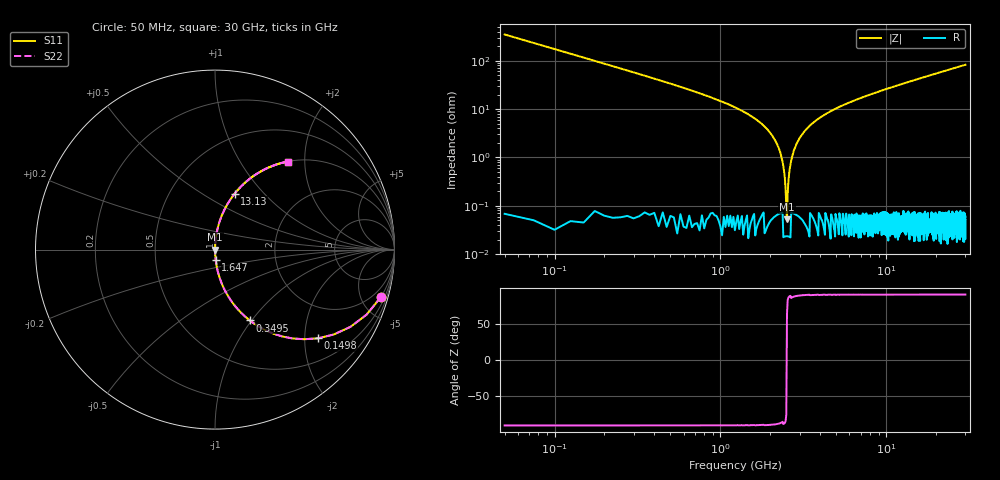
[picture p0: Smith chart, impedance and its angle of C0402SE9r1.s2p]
!	AVX Thin Film Operation 	Date: April 2014
!	Description: Accu-P® Series, Thin Film  SMD RF Capacitor
!	Part Number: 04023J9R1BBSTR
# MHZ S MA R 50
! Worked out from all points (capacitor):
!   1201 points, 50 MHz to 30 GHz, reference 50 ohm
!   read as one part in series: C = 9.1 pF near 199.8 MHz
!   lowest |Z| = 52.7 mohm at 2.521 GHz (marker M1)
!   series resonance near 2.512 GHz, so ESL is about 440 pH
!   S11 on the Smith chart (normalised r, x): 50 MHz: 1.01, -6.99; 149.8 MHz: 1.00, -2.33; 349.5 MHz: 1.00, -0.98; 1.647 GHz: 1.00, -0.12; 13.13 GHz: 1.00, +0.70; 30 GHz: 1.00, +1.65
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50  0.961 -16.0  0.275 74.0  0.275 74.0  0.961 -16.0
149.833  0.758 -40.7  0.652 49.3  0.652 49.3  0.758 -40.7
349.5  0.44 -63.8  0.897 26.1  0.897 26.1  0.44 -63.8
698.917  0.225 -76.9  0.974 13.0  0.974 13.0  0.225 -76.9
1647.333  0.06 -86.1  0.998 3.5  0.998 3.5  0.06 -86.1
2146.5  0.022 -87.5  0.999 1.3  0.999 1.3  0.022 -87.5
2296.25  0.013 -87.1  0.999 0.7  0.999 0.7  0.013 -87.1
2421.042  0.005174 -84.5  1 0.3  1 0.3  0.005174 -84.5
2520.875  0.0006656 45.1  1 -0.0  1 -0.0  0.0006656 45.1
2620.708  0.005897 85.1  1 -0.3  1 -0.3  0.005897 85.1
2720.542  0.011 86.9  0.999 -0.6  0.999 -0.6  0.011 86.9
2820.375  0.016 87.4  0.999 -0.9  0.999 -0.9  0.016 87.4
3169.792  0.033 87.3  0.999 -1.9  0.999 -1.9  0.033 87.3
3918.542  0.064 85.9  0.997 -3.7  0.997 -3.7  0.064 85.9
5041.667  0.104 83.8  0.994 -6.0  0.994 -6.0  0.104 83.8
7088.25  0.169 80.1  0.985 -9.7  0.985 -9.7  0.169 80.1
10058.29  0.253 75.3  0.967 -14.6  0.967 -14.6  0.253 75.3
13128.17  0.331 70.6  0.943 -19.3  0.943 -19.3  0.331 70.6
15025  0.375 67.9  0.927 -22.0  0.927 -22.0  0.375 67.9
20016.67  0.479 61.3  0.877 -28.6  0.877 -28.6  0.479 61.3
25033.29  0.566 55.5  0.824 -34.5  0.824 -34.5  0.566 55.5
30000  0.636 50.4  0.771 -39.5  0.771 -39.5  0.636 50.4
